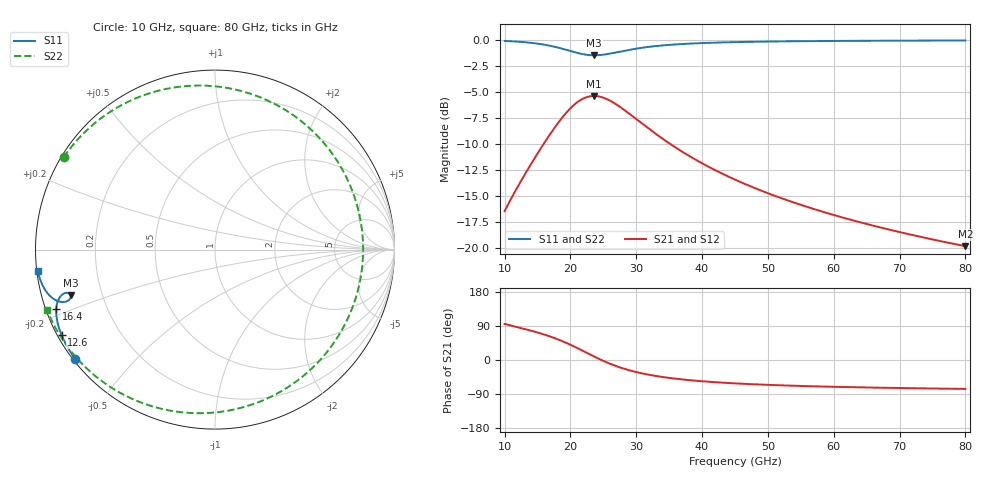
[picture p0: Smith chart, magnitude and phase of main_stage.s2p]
! Touchstone Ver. 1.0
! Sun Apr  2 18:49:51 2023
! Number of ports is 2
# Hz	S	DB	R	50.000000
! SCATTERING PARAMETERS  :
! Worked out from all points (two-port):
!   701 points, 10 GHz to 80 GHz, reference 50 ohm
!   highest |S21| = -5.38 dB at 23.6 GHz (marker M1); lowest = -19.8 dB at 80 GHz (marker M2)
!   |S21| within 3 dB of the highest: 17.65 GHz to 31.61 GHz (13.95 GHz wide, 56.7 % of centre)
!   lowest |S11| = -1.5 dB at 23.6 GHz (marker M3), VSWR 11.83, Z = 4.32 - j7.66 ohm
!   |S11| at or under -10 dB: nowhere
!   |S22| runs from -1.7 to -0.1 dB; largest |S21 - S12| = 0.014
!   S11 on the Smith chart (normalised r, x): 10 GHz: 0.01, -0.34; 12.6 GHz: 0.01, -0.26; 16.4 GHz: 0.03, -0.18; 80 GHz: 0.00, -0.06
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1e10  -0.09 -142.2  -16.43 95.2  -16.62 93.2  -0.11 148.6
1.26e10  -0.19 -150.9  -13.42 83.9  -13.60 82.3  -0.22 135.8
1.46e10  -0.32 -155.9  -11.31 74.6  -11.49 73.3  -0.37 122.7
1.64e10  -0.49 -159.5  -9.53 65.1  -9.71 63.8  -0.57 107.6
1.79e10  -0.70 -161.8  -8.16 55.7  -8.34 54.6  -0.80 91.5
1.92e10  -0.92 -163.2  -7.11 46.5  -7.29 45.4  -1.05 74.5
2.04e10  -1.13 -163.8  -6.31 37.0  -6.50 36.0  -1.29 56.1
2.17e10  -1.34 -163.7  -5.70 25.8  -5.89 24.9  -1.52 33.6
2.27e10  -1.44 -163.1  -5.45 17.0  -5.63 16.1  -1.64 15.3
2.36e10  -1.47 -162.5  -5.38 9.1  -5.56 8.3  -1.67 -1.2
2.46e10  -1.44 -161.7  -5.46 0.8  -5.65 -0.0  -1.63 -18.8
2.58e10  -1.33 -161.1  -5.76 -8.3  -5.94 -9.1  -1.50 -37.8
2.68e10  -1.21 -160.8  -6.12 -15.1  -6.30 -15.9  -1.36 -51.7
2.78e10  -1.09 -160.8  -6.55 -21.1  -6.73 -21.9  -1.21 -63.7
3.02e10  -0.81 -161.4  -7.69 -32.7  -7.88 -33.3  -0.90 -86.1
3.34e10  -0.56 -162.8  -9.21 -43.3  -9.40 -43.9  -0.62 -105.8
3.57e10  -0.44 -163.9  -10.21 -48.8  -10.39 -49.4  -0.48 -115.5
3.83e10  -0.34 -165.0  -11.23 -53.6  -11.41 -54.1  -0.38 -123.8
4.5e10  -0.21 -167.4  -13.41 -61.7  -13.59 -62.1  -0.22 -137.4
5.67e10  -0.11 -170.1  -16.18 -69.3  -16.36 -69.7  -0.12 -149.6
6.84e10  -0.07 -171.9  -18.21 -73.5  -18.39 -73.8  -0.07 -156.1
8e10  -0.05 -173.1  -19.80 -76.2  -19.98 -76.5  -0.05 -160.2
